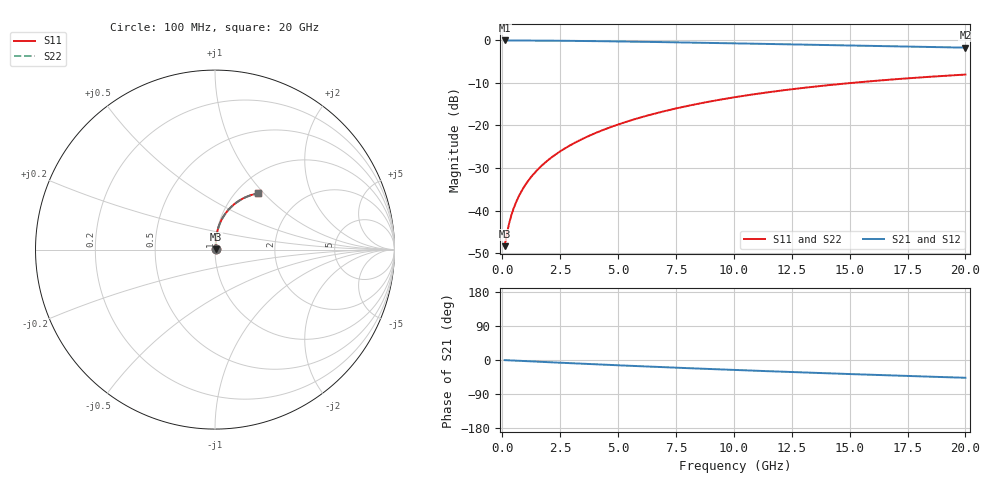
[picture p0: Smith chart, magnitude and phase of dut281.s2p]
! Touchstone file exported from HFSS 2024.1.0
!  File:  C:/UserFiles/LocalFiles/RDL_TSV_Batchsim/temp_RDL_bottom_281_1778702960.aedt
!  Generated:  04:12:00 AM May 14, 2026
!  Design:  RDL_bottom
!  Project:  temp_RDL_bottom_281_1778702960
!  Setup:  Setup1
!  Solution:  Sweep
! Variables:
!  dtsv = 10.80580581um
!  hbump = 3um
!  htsv = 88.18um
!  ldown = 664.04um
!  lrdl = 100um
!  p = 40
!  p1 = 53.88um
!  rhole = 1um
!  t = 450um
!  tdown = 3.38um
!  trdl = 3.915915916um
!  wdown = 23.96um
!  wrdl = 20um
# GHz S MA R 50.000000
! Terminal data exported
! Port[1] = RDL1_T1
! Port[2] = RDL1_T2
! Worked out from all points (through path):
!   200 points, 100 MHz to 20 GHz, reference 50 ohm
!   highest |S21| = -0.03 dB at 100 MHz (marker M1); lowest = -1.7 dB at 20 GHz (marker M2)
!   group delay of S21, straight-line fit = 6.46 ps
!   lowest |S11| = -48.4 dB at 100 MHz (marker M3), VSWR 1.01, Z = 50.3 + j0.22 ohm
!   |S11| at or under -10 dB: start of sweep to 15.1 GHz
!   |S22| runs from -48.4 to -8.1 dB; largest |S21 - S12| = 1.4e-14
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0.1  0.003813 34.9  0.9969 -0.3  0.9969 -0.3  0.003813 34.9
! Gamma 0 0 0 0
! Port Impedance 50 0 50 0
0.2  0.005394 52.4  0.9967 -0.6  0.9967 -0.6  0.005394 52.4
0.3  0.007163 61.0  0.9964 -0.9  0.9964 -0.9  0.007163 61.0
0.4  0.008965 66.2  0.9962 -1.2  0.9962 -1.2  0.008965 66.2
0.5  0.01078 69.7  0.996 -1.5  0.996 -1.5  0.01078 69.7
0.6  0.01261 72.3  0.9958 -1.8  0.9958 -1.8  0.01261 72.3
0.8  0.01633 75.9  0.9954 -2.3  0.9954 -2.3  0.01633 75.9
1.1  0.022 79.1  0.9947 -3.2  0.9947 -3.2  0.022 79.1
1.3  0.02584 80.5  0.9941 -3.8  0.9941 -3.8  0.02584 80.5
1.6  0.03167 81.8  0.9931 -4.6  0.9931 -4.6  0.03167 81.8
2.1  0.04155 83.1  0.991 -6.0  0.991 -6.0  0.04155 83.1
2.7  0.05367 83.8  0.9879 -7.7  0.9879 -7.7  0.05366 83.8
3.5  0.07025 83.9  0.9828 -9.9  0.9828 -9.9  0.07024 83.9
4.2  0.08514 83.5  0.9777 -11.8  0.9777 -11.8  0.08513 83.5
5  0.1025 82.7  0.9711 -14.0  0.9711 -14.0  0.1025 82.7
6.8  0.1426 79.9  0.9545 -18.6  0.9545 -18.6  0.1426 79.9
8.4  0.1785 76.8  0.9387 -22.4  0.9387 -22.4  0.1784 76.8
10.1  0.2159 73.2  0.9213 -26.4  0.9213 -26.4  0.2159 73.2
11.7  0.2499 69.7  0.9047 -30.0  0.9047 -30.0  0.2498 69.7
13.4  0.2841 66.0  0.8871 -33.7  0.8871 -33.7  0.284 65.9
16.7  0.3444 58.9  0.8533 -40.5  0.8533 -40.5  0.3442 58.9
20  0.396 52.4  0.8207 -46.9  0.8207 -46.9  0.3958 52.3
